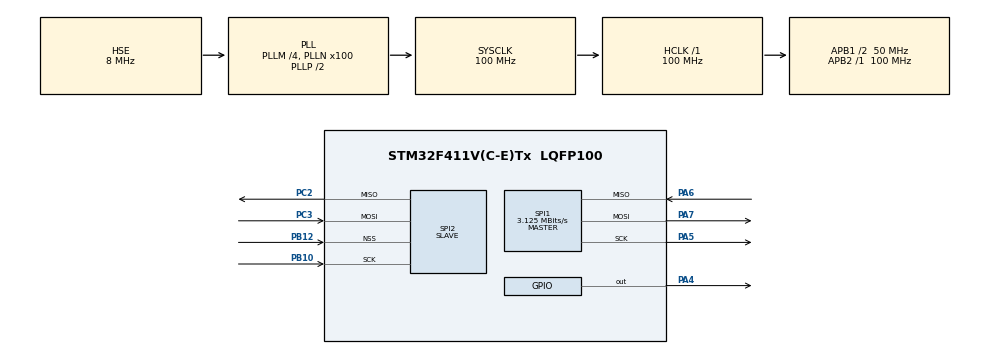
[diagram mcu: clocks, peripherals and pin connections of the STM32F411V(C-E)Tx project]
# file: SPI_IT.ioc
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Mcu.Family=STM32F4
Mcu.Name=STM32F411V(C-E)Tx
Mcu.Package=LQFP100
NVIC.PriorityGroup=NVIC_PRIORITYGROUP_4
NVIC.SPI1_IRQn=true\:0\:0\:true\:false\:true\:true\:true
NVIC.SPI2_IRQn=true\:0\:0\:true\:false\:true\:true\:true
PA13.Mode=Serial_Wire
PA13.Signal=SYS_JTMS-SWDIO
PA14.Mode=Serial_Wire
PA14.Signal=SYS_JTCK-SWCLK
PA4.GPIO_Speed=GPIO_SPEED_FREQ_VERY_HIGH
PA4.PinState=GPIO_PIN_SET
PA4.Signal=GPIO_Output
PA5.Mode=Full_Duplex_Master
PA5.Signal=SPI1_SCK
PA6.Mode=Full_Duplex_Master
PA6.Signal=SPI1_MISO
PA7.Mode=Full_Duplex_Master
PA7.Signal=SPI1_MOSI
PB10.Mode=Full_Duplex_Slave
PB10.Signal=SPI2_SCK
PB12.Mode=NSS_Signal_Hard_Input
PB12.Signal=SPI2_NSS
PC2.Mode=Full_Duplex_Slave
PC2.Signal=SPI2_MISO
PC3.Mode=Full_Duplex_Slave
PC3.Signal=SPI2_MOSI
PH0\ -\ OSC_IN.Mode=HSE-External-Oscillator
PH0\ -\ OSC_IN.Signal=RCC_OSC_IN
PH1\ -\ OSC_OUT.Mode=HSE-External-Oscillator
PH1\ -\ OSC_OUT.Signal=RCC_OSC_OUT
ProjectManager.HeapSize=0x200
ProjectManager.StackSize=0x400
ProjectManager.TargetToolchain=MDK-ARM V5
RCC.48MHZClocksFreq_Value=50000000
RCC.AHBFreq_Value=100000000
RCC.APB1CLKDivider=RCC_HCLK_DIV2
RCC.APB1Freq_Value=50000000
RCC.APB1TimFreq_Value=100000000
RCC.APB2Freq_Value=100000000
RCC.APB2TimFreq_Value=100000000
RCC.CortexFreq_Value=100000000
RCC.HCLKFreq_Value=100000000
RCC.HSE_VALUE=8000000
RCC.HSI_VALUE=16000000
RCC.LSE_VALUE=32768
RCC.PLLM=4
RCC.PLLN=100
RCC.PLLSourceVirtual=RCC_PLLSOURCE_HSE
RCC.SYSCLKFreq_VALUE=100000000
RCC.SYSCLKSource=RCC_SYSCLKSOURCE_PLLCLK
RCC.VCOOutputFreq_Value=200000000
SPI1.BaudRatePrescaler=SPI_BAUDRATEPRESCALER_32
SPI1.CalculateBaudRate=3.125 MBits/s
SPI1.DataSize=SPI_DATASIZE_8BIT
SPI1.Direction=SPI_DIRECTION_2LINES
SPI1.Mode=SPI_MODE_MASTER
SPI1.VirtualType=VM_MASTER
SPI2.Direction=SPI_DIRECTION_2LINES
SPI2.Mode=SPI_MODE_SLAVE
SPI2.VirtualNSS=VM_NSSHARD
SPI2.VirtualType=VM_SLAVE
board=custom

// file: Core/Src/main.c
/* USER CODE BEGIN Header */
/**
  ******************************************************************************
  * @file           : main.c
  * @brief          : Main program body
  ******************************************************************************
  * @attention
  *
  * Copyright (c) 2022 STMicroelectronics.
  * All rights reserved.
  *
  * This software is licensed under terms that can be found in the LICENSE file
  * in the root directory of this software component.
  * If no LICENSE file comes with this software, it is provided AS-IS.
  *
  ******************************************************************************
  */
/* USER CODE END Header */
#include "main.h"

/* USER CODE BEGIN Includes */
#include <stdio.h>
#define sizeofBuff 20
/* USER CODE END Includes */

SPI_HandleTypeDef hspi1;
SPI_HandleTypeDef hspi2;

/* USER CODE BEGIN PV */
uint8_t u8_SPI1_TxBuff[sizeofBuff] = "Master send";
uint8_t u8_SPI2_RxBuff[sizeofBuff];
uint8_t Count;
/* USER CODE END PV */

void SystemClock_Config(void);
static void MX_GPIO_Init(void);
static void MX_SPI1_Init(void);
static void MX_SPI2_Init(void);

/* USER CODE BEGIN 0 */
void HAL_SPI_RxCpltCallback(SPI_HandleTypeDef *hspi)
{
  /* Prevent unused argument(s) compilation warning */
  UNUSED(hspi);
	if(hspi->Instance == SPI2)
	{
		HAL_SPI_Receive_IT(&hspi2, u8_SPI2_RxBuff, sizeofBuff);
	}
  /* NOTE : This function should not be modified, when the callback is needed,
            the HAL_SPI_RxCpltCallback should be implemented in the user file
   */
}
/* USER CODE END 0 */

int main(void)
{

  /* MCU Configuration--------------------------------------------------------*/

  /* Reset of all peripherals, Initializes the Flash interface and the Systick. */
  HAL_Init();

  /* Configure the system clock */
  SystemClock_Config();

  /* Initialize all configured peripherals */
  MX_GPIO_Init();
  MX_SPI1_Init();
  MX_SPI2_Init();
  /* USER CODE BEGIN 2 */
	HAL_GPIO_WritePin(GPIOA, GPIO_PIN_4, GPIO_PIN_RESET);

	HAL_SPI_Transmit(&hspi1,u8_SPI1_TxBuff,sizeofBuff,100);
	HAL_SPI_Receive_IT(&hspi2, u8_SPI2_RxBuff,sizeofBuff);

  /* USER CODE END 2 */

  /* Infinite loop */
  while (1)
  {

    /* USER CODE BEGIN 3 */
		sprintf((char*)u8_SPI1_TxBuff, "gui lan thu: %d \n", Count);
		HAL_GPIO_WritePin(GPIOA, GPIO_PIN_4, GPIO_PIN_RESET);
		HAL_SPI_Transmit(&hspi1, u8_SPI1_TxBuff, sizeofBuff, 100);
		HAL_GPIO_WritePin(GPIOA, GPIO_PIN_4, 1);
		Count++;
		HAL_Delay(1000);
	}
  /* USER CODE END 3 */
}

void SystemClock_Config(void)
{
  RCC_OscInitTypeDef RCC_OscInitStruct = {0};
  RCC_ClkInitTypeDef RCC_ClkInitStruct = {0};

  /** Configure the main internal regulator output voltage
  */
  __HAL_RCC_PWR_CLK_ENABLE();
  __HAL_PWR_VOLTAGESCALING_CONFIG(PWR_REGULATOR_VOLTAGE_SCALE1);
  /** Initializes the RCC Oscillators according to the specified parameters
  * in the RCC_OscInitTypeDef structure.
  */
  RCC_OscInitStruct.OscillatorType = RCC_OSCILLATORTYPE_HSE;
  RCC_OscInitStruct.HSEState = RCC_HSE_ON;
  RCC_OscInitStruct.PLL.PLLState = RCC_PLL_ON;
  RCC_OscInitStruct.PLL.PLLSource = RCC_PLLSOURCE_HSE;
  RCC_OscInitStruct.PLL.PLLM = 4;
  RCC_OscInitStruct.PLL.PLLN = 100;
  RCC_OscInitStruct.PLL.PLLP = RCC_PLLP_DIV2;
  RCC_OscInitStruct.PLL.PLLQ = 4;
  if (HAL_RCC_OscConfig(&RCC_OscInitStruct) != HAL_OK)
  {
    Error_Handler();
  }
  /** Initializes the CPU, AHB and APB buses clocks
  */
  RCC_ClkInitStruct.ClockType = RCC_CLOCKTYPE_HCLK|RCC_CLOCKTYPE_SYSCLK
                              |RCC_CLOCKTYPE_PCLK1|RCC_CLOCKTYPE_PCLK2;
  RCC_ClkInitStruct.SYSCLKSource = RCC_SYSCLKSOURCE_PLLCLK;
  RCC_ClkInitStruct.AHBCLKDivider = RCC_SYSCLK_DIV1;
  RCC_ClkInitStruct.APB1CLKDivider = RCC_HCLK_DIV2;
  RCC_ClkInitStruct.APB2CLKDivider = RCC_HCLK_DIV1;

  if (HAL_RCC_ClockConfig(&RCC_ClkInitStruct, FLASH_LATENCY_3) != HAL_OK)
  {
    Error_Handler();
  }
}

static void MX_SPI1_Init(void)
{

  /* SPI1 parameter configuration*/
  hspi1.Instance = SPI1;
  hspi1.Init.Mode = SPI_MODE_MASTER;
  hspi1.Init.Direction = SPI_DIRECTION_2LINES;
  hspi1.Init.DataSize = SPI_DATASIZE_8BIT;
  hspi1.Init.CLKPolarity = SPI_POLARITY_LOW;
  hspi1.Init.CLKPhase = SPI_PHASE_1EDGE;
  hspi1.Init.NSS = SPI_NSS_SOFT;
  hspi1.Init.BaudRatePrescaler = SPI_BAUDRATEPRESCALER_32;
  hspi1.Init.FirstBit = SPI_FIRSTBIT_MSB;
  hspi1.Init.TIMode = SPI_TIMODE_DISABLE;
  hspi1.Init.CRCCalculation = SPI_CRCCALCULATION_DISABLE;
  hspi1.Init.CRCPolynomial = 10;
  if (HAL_SPI_Init(&hspi1) != HAL_OK)
  {
    Error_Handler();
  }

}

static void MX_SPI2_Init(void)
{

  /* SPI2 parameter configuration*/
  hspi2.Instance = SPI2;
  hspi2.Init.Mode = SPI_MODE_SLAVE;
  hspi2.Init.Direction = SPI_DIRECTION_2LINES;
  hspi2.Init.DataSize = SPI_DATASIZE_8BIT;
  hspi2.Init.CLKPolarity = SPI_POLARITY_LOW;
  hspi2.Init.CLKPhase = SPI_PHASE_1EDGE;
  hspi2.Init.NSS = SPI_NSS_HARD_INPUT;
  hspi2.Init.FirstBit = SPI_FIRSTBIT_MSB;
  hspi2.Init.TIMode = SPI_TIMODE_DISABLE;
  hspi2.Init.CRCCalculation = SPI_CRCCALCULATION_DISABLE;
  hspi2.Init.CRCPolynomial = 10;
  if (HAL_SPI_Init(&hspi2) != HAL_OK)
  {
    Error_Handler();
  }

}

static void MX_GPIO_Init(void)
{
  GPIO_InitTypeDef GPIO_InitStruct = {0};

  /* GPIO Ports Clock Enable */
  __HAL_RCC_GPIOH_CLK_ENABLE();
  __HAL_RCC_GPIOC_CLK_ENABLE();
  __HAL_RCC_GPIOA_CLK_ENABLE();
  __HAL_RCC_GPIOB_CLK_ENABLE();

  /*Configure GPIO pin Output Level */
  HAL_GPIO_WritePin(GPIOA, GPIO_PIN_4, GPIO_PIN_SET);

  /*Configure GPIO pin : PA4 */
  GPIO_InitStruct.Pin = GPIO_PIN_4;
  GPIO_InitStruct.Mode = GPIO_MODE_OUTPUT_PP;
  GPIO_InitStruct.Pull = GPIO_NOPULL;
  GPIO_InitStruct.Speed = GPIO_SPEED_FREQ_VERY_HIGH;
  HAL_GPIO_Init(GPIOA, &GPIO_InitStruct);

}

void Error_Handler(void)
{
  __disable_irq();
  while (1)
  {
  }
}
